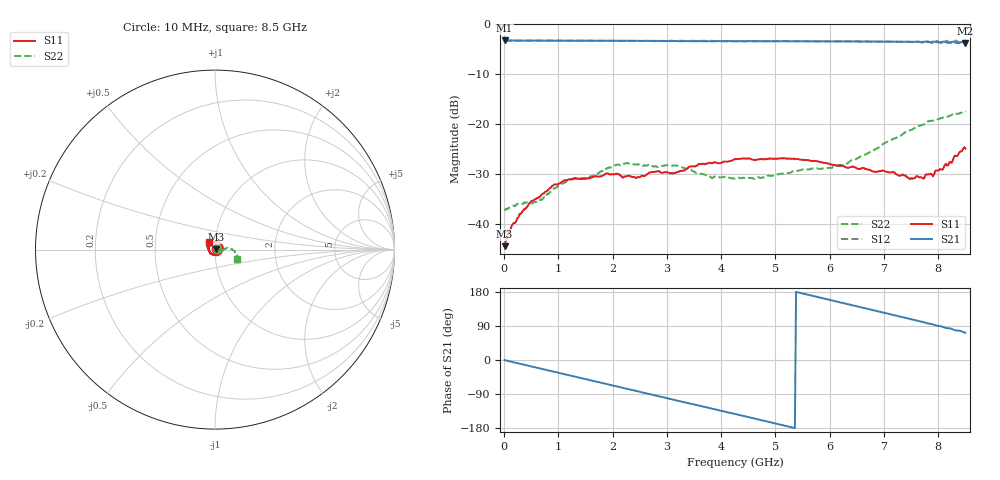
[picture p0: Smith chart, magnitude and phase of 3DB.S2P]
!Agilent Technologies,E5071C,MY46101917,A.08.10
!Date: Mon Jan 01 00:51:35 2001
!Data & Calibration Information:
!Freq	S11:SOLT2(ON)	S21:SOLT2(ON)	S12:SOLT2(ON)	S22:SOLT2(ON)
# Hz S dB R 50
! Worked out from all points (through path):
!   401 points, 10 MHz to 8.5 GHz, reference 50 ohm
!   highest |S21| = -3.24 dB at 10 MHz (marker M1); lowest = -3.8 dB at 8.5 GHz (marker M2)
!   group delay of S21, straight-line fit = 93.6 ps
!   lowest |S11| = -44.4 dB at 10 MHz (marker M3), VSWR 1.01, Z = 50.6 + j0.0962 ohm
!   |S11| at or under -10 dB: start of sweep to end of sweep
!   |S22| runs from -37.3 to -17.3 dB; largest |S21 - S12| = 0.043
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1e7  -44.40 9.1  -3.24 -0.4  -3.24 -0.4  -37.29 3.1
1.3735e8  -40.39 22.5  -3.26 -4.7  -3.26 -4.7  -36.50 5.2
4.98175e8  -35.44 29.8  -3.27 -16.8  -3.26 -16.8  -35.76 27.2
7.3165e8  -33.87 20.7  -3.27 -24.6  -3.27 -24.6  -34.61 25.4
9.22675e8  -32.06 10.3  -3.28 -31.0  -3.28 -31.0  -32.80 28.7
1.219825e9  -31.07 -5.7  -3.29 -41.0  -3.29 -41.0  -31.04 34.1
1.432075e9  -30.97 -19.7  -3.29 -48.1  -3.28 -48.1  -30.75 35.1
1.899025e9  -29.83 -58.1  -3.30 -63.8  -3.31 -63.8  -28.77 19.1
2.238625e9  -30.46 -85.0  -3.31 -75.1  -3.33 -75.2  -27.76 14.0
2.85415e9  -29.38 -147.5  -3.36 -96.0  -3.33 -95.2  -28.46 -6.5
3.130075e9  -29.79 -174.3  -3.34 -105.0  -3.35 -104.8  -28.21 -12.6
3.4909e9  -28.42 150.0  -3.39 -117.1  -3.30 -117.0  -29.46 -17.9
3.809275e9  -27.79 124.5  -3.39 -127.8  -3.30 -127.7  -30.60 -27.9
4.255e9  -26.96 86.2  -3.40 -142.4  -3.40 -142.8  -30.88 -30.5
4.997875e9  -26.93 34.0  -3.37 -167.5  -3.38 -167.5  -30.10 -26.2
5.677075e9  -27.33 -3.2  -3.40 169.6  -3.40 169.5  -28.86 -20.4
6.271375e9  -28.47 -28.3  -3.44 149.5  -3.44 149.5  -28.13 -8.0
7.09915e9  -29.66 -73.2  -3.48 121.3  -3.51 121.4  -23.34 7.1
7.502425e9  -30.80 -108.5  -3.52 107.5  -3.54 107.5  -21.14 2.6
7.884475e9  -30.12 -156.4  -3.51 94.6  -3.73 95.0  -19.32 -4.3
8.20285e9  -27.65 162.5  -3.69 83.7  -3.62 83.0  -18.38 -14.1
8.5e9  -24.88 128.9  -3.79 72.2  -3.28 73.5  -17.47 -23.3
